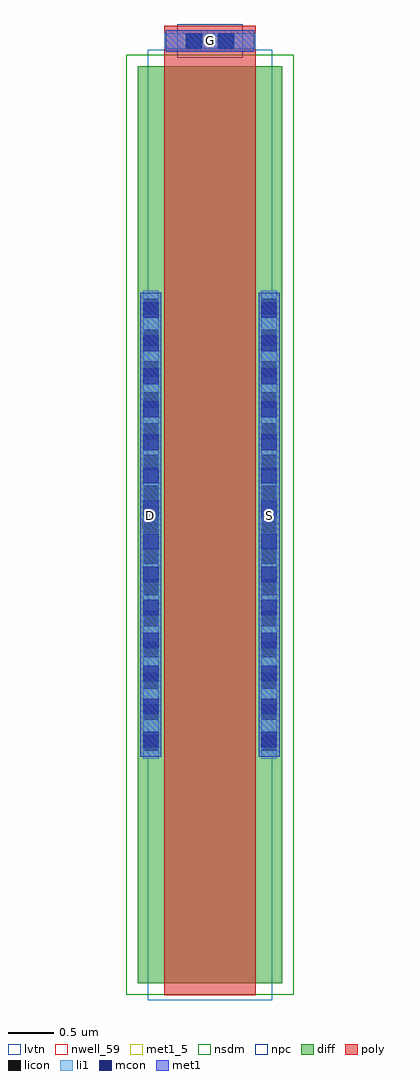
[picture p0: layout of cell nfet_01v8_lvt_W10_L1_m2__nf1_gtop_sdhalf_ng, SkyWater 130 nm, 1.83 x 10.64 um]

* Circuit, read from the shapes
.subckt nfet_01v8_lvt_W10_L1_m2__nf1_gtop_sdhalf_ng B D G S
XM1 S G D B sky130_fd_pr__nfet_01v8_lvt w=10 l=1
.ends

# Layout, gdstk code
import gdstk
lib = gdstk.Library(unit=1e-6, precision=1e-09)
def R(c, l, rs):  # rectangles x0, y0, x1, y1
    for r in rs: c.add(gdstk.rectangle(r[:2], r[2:], *l))
def A(c, l, x, y, w, h, nx, ny, dx, dy):  # array of equal rectangles
    R(c, l, [(x+i*dx, y+j*dy, x+i*dx+w, y+j*dy+h) for i in range(nx) for j in range(ny)])
nwell_59 = (64, 59)
diff = (65, 20)
poly = (66, 20)
licon = (66, 44)
li1 = (67, 20)
mcon = (67, 44)
met1_5 = (68, 5)
met1 = (68, 20)
nsdm = (93, 44)
npc = (95, 20)
lvtn = (125, 44)

sky130_fd_pr__nfet_01v8_ = lib.new_cell('sky130_fd_pr__nfet_01v8_lvt_BDFQ6S')
R(sky130_fd_pr__nfet_01v8_, diff, [(-0.79,-5.155,0.79,4.845)])
R(sky130_fd_pr__nfet_01v8_, poly, [(-0.5,-5.285,0.5,5.285)])
A(sky130_fd_pr__nfet_01v8_, licon, -0.73, -2.62, 0.17, 0.17, 1, 15, 0, 0.34)
A(sky130_fd_pr__nfet_01v8_, licon, 0.56, -2.62, 0.17, 0.17, 1, 15, 0, 0.34)
R(sky130_fd_pr__nfet_01v8_, licon, [(-0.255,5.035,-0.085,5.205), (0.085,5.035,0.255,5.205)])
R(sky130_fd_pr__nfet_01v8_, li1, [(-0.73,-2.705,-0.56,2.395), (0.56,-2.705,0.73,2.395), (-0.5,5.035,0.5,5.205)])
A(sky130_fd_pr__nfet_01v8_, mcon, -0.73, -2.58, 0.17, 0.17, 1, 14, 0, 0.36)
A(sky130_fd_pr__nfet_01v8_, mcon, 0.56, -2.58, 0.17, 0.17, 1, 14, 0, 0.36)
R(sky130_fd_pr__nfet_01v8_, mcon, [(-0.265,5.035,-0.095,5.205), (0.095,5.035,0.265,5.205)])
R(sky130_fd_pr__nfet_01v8_, met1, [(-0.76,-2.685,-0.53,2.375), (0.53,-2.685,0.76,2.375), (-0.48,5.005,0.48,5.235)])
R(sky130_fd_pr__nfet_01v8_, nsdm, [(-0.915,-5.28,0.915,4.97)])
R(sky130_fd_pr__nfet_01v8_, npc, [(-0.355,4.935,0.355,5.305)])
R(sky130_fd_pr__nfet_01v8_, lvtn, [(-0.68,-5.335,0.68,5.025)])
sky130_fd_pr__nfet_01v8_.add(gdstk.Label('D', (-0.645,-0.155), layer=67, texttype=5))
sky130_fd_pr__nfet_01v8_.add(gdstk.Label('S', (0.645,-0.155), layer=67, texttype=5))
sky130_fd_pr__nfet_01v8_.add(gdstk.Label('G', (0,5.12), layer=67, texttype=5))

nfet_01v8_lvt_w10_l1_m2_ = lib.new_cell('nfet_01v8_lvt_W10_L1_m2__nf1_gtop_sdhalf_ng')
R(nfet_01v8_lvt_w10_l1_m2_, nwell_59, [(0.05,5.08,0.15,5.18)])
R(nfet_01v8_lvt_w10_l1_m2_, met1_5, [(0.03,5.13,0.26,5.33), (1.32,5.13,1.55,5.33), (0.31,10.29,1.27,10.52)])
R(nfet_01v8_lvt_w10_l1_m2_, met1, [(0.03,5.13,0.26,5.33), (1.32,5.13,1.55,5.33), (0.31,10.29,1.27,10.52)])
nfet_01v8_lvt_w10_l1_m2_.add(gdstk.Reference(sky130_fd_pr__nfet_01v8_, (0.79,5.285)))
nfet_01v8_lvt_w10_l1_m2_.add(gdstk.Label('D', (0.145,5.23), layer=68, texttype=5))
nfet_01v8_lvt_w10_l1_m2_.add(gdstk.Label('S', (1.435,5.23), layer=68, texttype=5))
nfet_01v8_lvt_w10_l1_m2_.add(gdstk.Label('G', (0.79,10.405), layer=68, texttype=5))
nfet_01v8_lvt_w10_l1_m2_.add(gdstk.Label('B', (0.1,5.13), layer=64, texttype=59))

lib.write_gds('nfet_01v8_lvt_W10_L1_m2__nf1_gtop_sdhalf_ng.gds')
